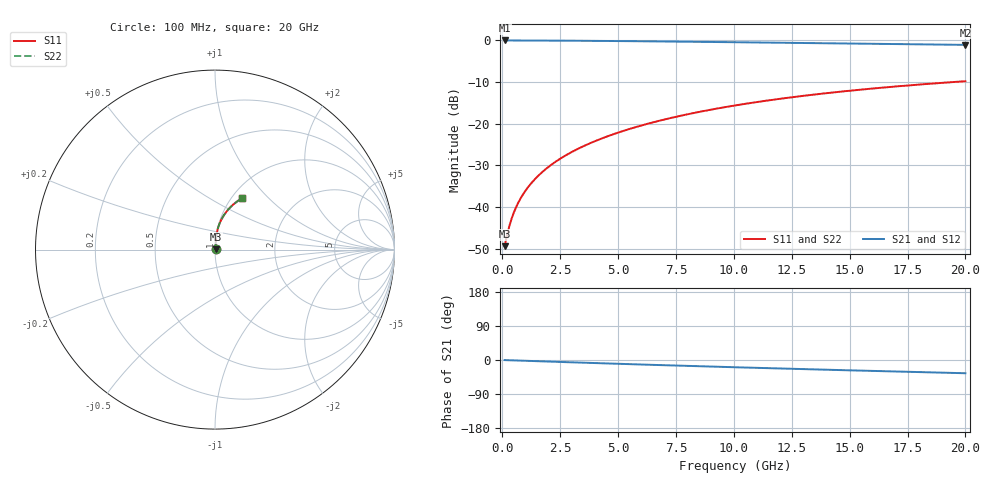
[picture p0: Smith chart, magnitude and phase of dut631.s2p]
! Touchstone file exported from HFSS 2024.1.0
!  File:  C:/UserFiles/LocalFiles/RDL_TSV_Batchsim/temp_RDL_bottom_631_1779784506.aedt
!  Generated:  04:37:39 PM May 26, 2026
!  Design:  RDL_bottom
!  Project:  temp_RDL_bottom_631_1779784506
!  Setup:  Setup1
!  Solution:  Sweep
! Variables:
!  dtsv = 10.80580581um
!  hbump = 3um
!  htsv = 76.72um
!  ldown = 487.1um
!  lrdl = 100um
!  p = 40
!  p1 = 47.66um
!  rhole = 1um
!  t = 450um
!  tdown = 2.86um
!  trdl = 3.915915916um
!  wdown = 22.52um
!  wrdl = 20um
# GHz S MA R 50.000000
! Terminal data exported
! Port[1] = RDL1_T1
! Port[2] = RDL1_T2
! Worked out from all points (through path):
!   200 points, 100 MHz to 20 GHz, reference 50 ohm
!   highest |S21| = -0.03 dB at 100 MHz (marker M1); lowest = -1.1 dB at 20 GHz (marker M2)
!   group delay of S21, straight-line fit = 4.81 ps
!   lowest |S11| = -49.4 dB at 100 MHz (marker M3), VSWR 1.01, Z = 50.3 + j0.168 ohm
!   |S11| at or under -10 dB: start of sweep to 19.51 GHz
!   |S22| runs from -49.4 to -9.8 dB; largest |S21 - S12| = 2.5e-15
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0.1  0.003374 29.7  0.9971 -0.2  0.9971 -0.2  0.003374 29.7
! Gamma 0 0 0 0
! Port Impedance 50 0 50 0
0.2  0.004487 47.4  0.9969 -0.4  0.9969 -0.4  0.004487 47.4
0.3  0.005812 56.9  0.9968 -0.6  0.9968 -0.6  0.005812 56.9
0.4  0.00719 62.7  0.9966 -0.9  0.9966 -0.9  0.00719 62.6
0.5  0.008578 66.5  0.9964 -1.1  0.9964 -1.1  0.008578 66.5
0.6  0.009972 69.4  0.9962 -1.3  0.9962 -1.3  0.009972 69.4
0.8  0.01278 73.5  0.9959 -1.7  0.9959 -1.7  0.01278 73.5
1.1  0.01706 77.2  0.9954 -2.3  0.9954 -2.3  0.01706 77.2
1.3  0.01995 78.9  0.9951 -2.7  0.9951 -2.7  0.01995 78.9
1.6  0.02435 80.7  0.9944 -3.3  0.9944 -3.3  0.02435 80.7
2.1  0.03181 82.6  0.9932 -4.3  0.9932 -4.3  0.03181 82.6
2.7  0.04097 83.9  0.9913 -5.5  0.9913 -5.5  0.04097 83.9
3.5  0.0535 84.6  0.9882 -7.1  0.9882 -7.1  0.0535 84.6
4.2  0.06477 84.8  0.985 -8.5  0.985 -8.5  0.06477 84.7
5  0.07796 84.5  0.9809 -10.0  0.9809 -10.0  0.07795 84.5
6.8  0.1086 83.0  0.9706 -13.4  0.9706 -13.4  0.1086 83.0
8.4  0.1364 81.0  0.9605 -16.3  0.9605 -16.3  0.1364 81.0
10.1  0.1661 78.5  0.9494 -19.2  0.9494 -19.2  0.1661 78.5
11.7  0.1937 75.9  0.9387 -21.9  0.9387 -21.9  0.1936 75.9
13.4  0.2222 73.0  0.9272 -24.7  0.9272 -24.7  0.2222 73.0
16.7  0.2749 67.5  0.9047 -29.9  0.9047 -29.9  0.2748 67.5
20  0.3231 62.2  0.8822 -34.9  0.8822 -34.9  0.323 62.2
